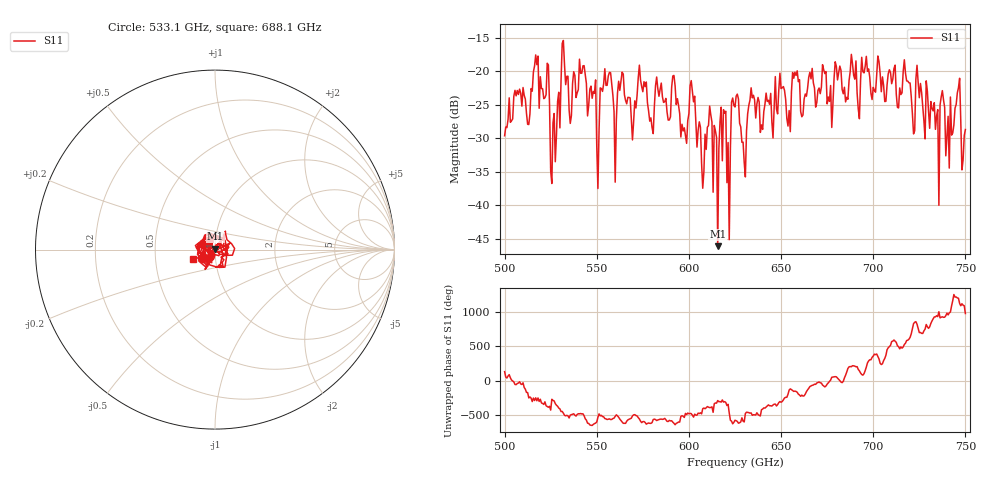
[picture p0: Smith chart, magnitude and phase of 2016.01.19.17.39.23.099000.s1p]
!Created with skrf (http://scikit-rf.org).
# GHz S RI R 50.0
!freq ReS11 ImS11
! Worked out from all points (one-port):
!   401 points, 500 GHz to 750 GHz, reference 50 ohm
!   lowest |S11| = -46.1 dB at 615.6 GHz (marker M1), VSWR 1.01, Z = 50.1 + j0.48 ohm
!   |S11| at or under -10 dB: start of sweep to end of sweep
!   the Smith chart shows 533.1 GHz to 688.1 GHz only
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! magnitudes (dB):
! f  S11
! 500 GHz  -29.6
! 513.1 GHz  -27.9
! 516.9 GHz  -17.5
! 523.1 GHz  -18.8
! 526.2 GHz  -27.7
! 531.2 GHz  -15.8
! 535.6 GHz  -27.8
! 541.9 GHz  -20.3
! 551.2 GHz  -28.7
! 553.1 GHz  -23.0
! 560 GHz  -36.5
! 562.5 GHz  -22.8
! 593.8 GHz  -24.1
! 601.9 GHz  -23.0
! 608.1 GHz  -35.0
! 611.2 GHz  -25.2
! 615.6 GHz  -46.1
! 618.8 GHz  -25.7
! 621.9 GHz  -45.1
! 625 GHz  -25.3
! 630 GHz  -33.6
! 633.8 GHz  -22.5
! 656.2 GHz  -20.2
! 687.5 GHz  -20.0
! 718.8 GHz  -21.5
! 740 GHz  -29.7
! 745.6 GHz  -23.2
! 750 GHz  -28.7
